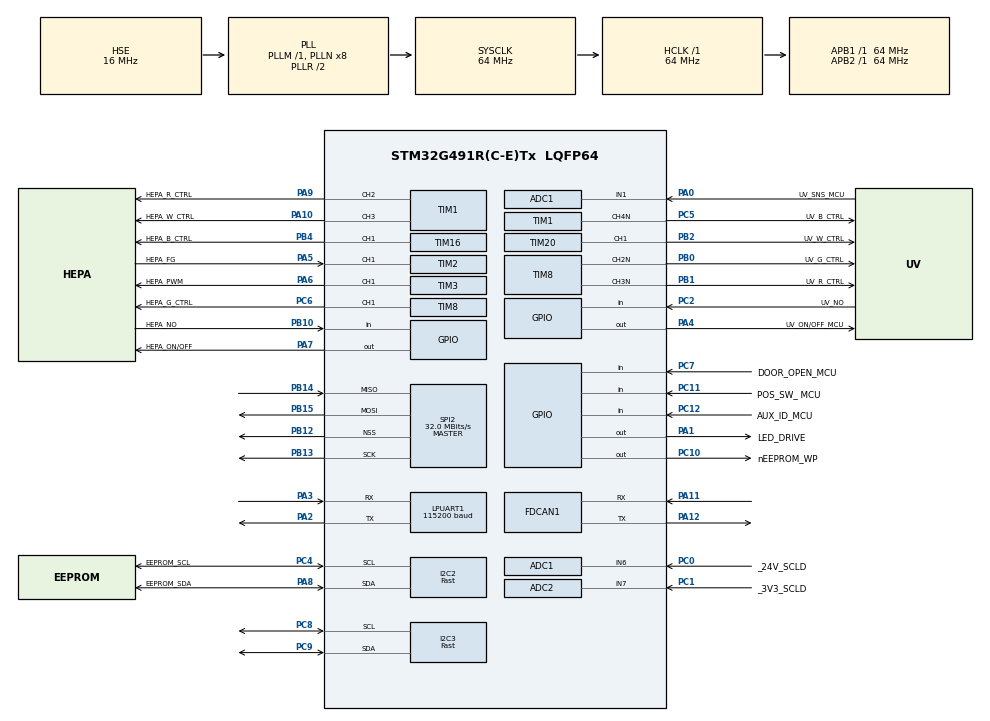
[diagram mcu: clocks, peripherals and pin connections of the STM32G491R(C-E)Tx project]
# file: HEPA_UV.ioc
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ADC1.Channel-1\#ChannelRegularConversion=ADC_CHANNEL_6
ADC1.NbrOfConversionFlag=1
ADC1.OffsetNumber-1\#ChannelRegularConversion=ADC_OFFSET_NONE
ADC1.Rank-1\#ChannelRegularConversion=1
ADC1.SamplingTime-1\#ChannelRegularConversion=ADC_SAMPLETIME_12CYCLES_5
ADC1.master=1
ADC2.Channel-0\#ChannelRegularConversion=ADC_CHANNEL_7
ADC2.NbrOfConversionFlag=1
ADC2.OffsetNumber-0\#ChannelRegularConversion=ADC_OFFSET_NONE
ADC2.Rank-0\#ChannelRegularConversion=1
ADC2.SamplingTime-0\#ChannelRegularConversion=ADC_SAMPLETIME_2CYCLES_5
FDCAN1.CalculateBaudRateNominal=500000
FDCAN1.CalculateTimeBitNominal=2000
FDCAN1.CalculateTimeQuantumNominal=15.625
FDCAN1.DataTimeSeg1=32
FDCAN1.NominalPrescaler=1
FDCAN1.NominalTimeSeg1=110
FDCAN1.NominalTimeSeg2=17
I2C2.I2C_Speed_Mode=I2C_Fast
I2C2.Timing=0x00602173
I2C3.I2C_Speed_Mode=I2C_Fast
I2C3.Timing=0x00602173
LPUART1.BaudRate=115200
Mcu.Family=STM32G4
Mcu.Name=STM32G491R(C-E)Tx
Mcu.Package=LQFP64
NVIC.PriorityGroup=NVIC_PRIORITYGROUP_4
NVIC.TIM2_IRQn=true\:0\:0\:false\:false\:true\:true\:true\:true
PA0.GPIO_Label=UV_SNS_MCU
PA0.Mode=IN1-Single-Ended
PA0.Signal=ADC1_IN1
PA1.GPIO_Label=LED_DRIVE
PA1.GPIO_ModeDefaultOutputPP=GPIO_MODE_OUTPUT_OD
PA1.GPIO_PuPd=GPIO_NOPULL
PA1.Signal=GPIO_Output
PA10.GPIO_Label=HEPA_W_CTRL
PA10.Signal=S_TIM1_CH3
PA11.Mode=FDCAN_Activate
PA11.Signal=FDCAN1_RX
PA12.Mode=FDCAN_Activate
PA12.Signal=FDCAN1_TX
PA13.Signal=SYS_JTMS-SWDIO
PA14.Signal=SYS_JTCK-SWCLK
PA15.Signal=SYS_JTDI
PA2.Mode=Asynchronous
PA2.Signal=LPUART1_TX
PA3.Mode=Asynchronous
PA3.Signal=LPUART1_RX
PA4.GPIO_Label=UV_ON/OFF_MCU
PA4.GPIO_Speed=GPIO_SPEED_FREQ_LOW
PA4.PinState=GPIO_PIN_RESET
PA4.Signal=GPIO_Output
PA5.GPIO_Label=HEPA_FG
PA5.Signal=S_TIM2_CH1
PA6.GPIO_Label=HEPA_PWM
PA6.Signal=S_TIM3_CH1
PA7.GPIO_Label=HEPA_ON/OFF
PA7.PinState=GPIO_PIN_RESET
PA7.Signal=GPIO_Output
PA8.GPIO_Label=EEPROM_SDA
PA8.Mode=I2C
PA8.Signal=I2C2_SDA
PA9.GPIO_Label=HEPA_R_CTRL
PA9.Signal=S_TIM1_CH2
PB0.GPIO_Label=UV_G_CTRL
PB0.Mode=PWM Generation2 CH2N
PB0.Signal=TIM8_CH2N
PB1.GPIO_Label=UV_R_CTRL
PB1.Mode=PWM Generation3 CH3N
PB1.Signal=TIM8_CH3N
PB10.GPIO_Label=HEPA_NO
PB10.Signal=GPIO_Input
PB12.Mode=NSS_Signal_Hard_Output
PB12.Signal=SPI2_NSS
PB13.Mode=Full_Duplex_Master
PB13.Signal=SPI2_SCK
PB14.Mode=Full_Duplex_Master
PB14.Signal=SPI2_MISO
PB15.Mode=Full_Duplex_Master
PB15.Signal=SPI2_MOSI
PB2.GPIO_Label=UV_W_CTRL
PB2.Mode=PWM Generation1 CH1
PB2.Signal=TIM20_CH1
PB3.Signal=SYS_JTDO-SWO
PB4.GPIO_Label=HEPA_B_CTRL
PB4.Signal=S_TIM16_CH1
PC0.GPIO_Label=_24V_SCLD
PC0.Mode=IN6-Single-Ended
PC0.Signal=ADC1_IN6
PC1.GPIO_Label=_3V3_SCLD
PC1.Signal=SharedAnalog_PC1
PC10.GPIO_Label=nEEPROM_WP
PC10.GPIO_ModeDefaultOutputPP=GPIO_MODE_OUTPUT_OD
PC10.GPIO_PuPd=GPIO_NOPULL
PC10.Signal=GPIO_Output
PC11.GPIO_Label=POS_SW_ MCU
PC11.Signal=GPIO_Input
PC12.GPIO_Label=AUX_ID_MCU
PC12.Signal=GPIO_Input
PC2.GPIO_Label=UV_NO
PC2.Signal=GPIO_Input
PC4.GPIO_Label=EEPROM_SCL
PC4.Mode=I2C
PC4.Signal=I2C2_SCL
PC5.GPIO_Label=UV_B_CTRL
PC5.Mode=PWM Generation4 CH4N
PC5.Signal=TIM1_CH4N
PC6.GPIO_Label=HEPA_G_CTRL
PC6.Signal=S_TIM8_CH1
PC7.GPIO_Label=DOOR_OPEN_MCU
PC7.Signal=GPIO_Input
PC8.Mode=I2C
PC8.Signal=I2C3_SCL
PC9.Mode=I2C
PC9.Signal=I2C3_SDA
PF0-OSC_IN.Mode=HSE-External-Oscillator
PF0-OSC_IN.Signal=RCC_OSC_IN
PF1-OSC_OUT.Mode=HSE-External-Oscillator
PF1-OSC_OUT.Signal=RCC_OSC_OUT
ProjectManager.HeapSize=0x200
ProjectManager.StackSize=0x400
ProjectManager.TargetToolchain=STM32CubeIDE
RCC.ADC12Freq_Value=64000000
RCC.ADC345Freq_Value=64000000
RCC.AHBFreq_Value=64000000
RCC.APB1Freq_Value=64000000
RCC.APB1TimFreq_Value=64000000
RCC.APB2Freq_Value=64000000
RCC.APB2TimFreq_Value=64000000
RCC.CortexFreq_Value=64000000
RCC.EXTERNAL_CLOCK_VALUE=12288000
RCC.HCLKFreq_Value=64000000
RCC.HSE_VALUE=16000000
RCC.HSI48_VALUE=48000000
RCC.HSI_VALUE=16000000
RCC.LSE_VALUE=32768
RCC.PLLSourceVirtual=RCC_PLLSOURCE_HSE
RCC.SYSCLKFreq_VALUE=64000000
RCC.SYSCLKSource=RCC_SYSCLKSOURCE_PLLCLK
RCC.USBFreq_Value=48000000
RCC.VCOOutputFreq_Value=128000000
SH.S_TIM16_CH1.0=TIM16_CH1,PWM Generation1 CH1
SH.S_TIM1_CH2.0=TIM1_CH2,PWM Generation2 CH2
SH.S_TIM1_CH3.0=TIM1_CH3,PWM Generation3 CH3
SH.S_TIM2_CH1.0=TIM2_CH1,Input_Capture1_from_TI1
SH.S_TIM3_CH1.0=TIM3_CH1,PWM Generation1 CH1
SH.S_TIM8_CH1.0=TIM8_CH1,PWM Generation1 CH1
SH.SharedAnalog_PC1.0=ADC2_IN7,IN7-Single-Ended
SH.SharedAnalog_PC1.1=ADC1_IN7,IN7-Single-Ended
SPI2.CalculateBaudRate=32.0 MBits/s
SPI2.Direction=SPI_DIRECTION_2LINES
SPI2.Mode=SPI_MODE_MASTER
SPI2.VirtualNSS=VM_NSSHARD
SPI2.VirtualType=VM_MASTER
TIM1.Channel-PWM\ Generation2\ CH2=TIM_CHANNEL_2
TIM1.Channel-PWM\ Generation3\ CH3=TIM_CHANNEL_3
TIM1.Channel-PWM\ Generation4\ CH4N=TIM_CHANNEL_4
TIM16.Channel=TIM_CHANNEL_1
TIM2.Channel-Input_Capture1_from_TI1=TIM_CHANNEL_1
TIM2.Prescaler=640-1
TIM20.Channel-PWM\ Generation1\ CH1=TIM_CHANNEL_1
TIM3.Channel-PWM\ Generation1\ CH1=TIM_CHANNEL_1
TIM8.Channel-PWM\ Generation1\ CH1=TIM_CHANNEL_1
TIM8.Channel-PWM\ Generation2\ CH2N=TIM_CHANNEL_2
TIM8.Channel-PWM\ Generation3\ CH3N=TIM_CHANNEL_3
VP_SYS_VS_DBSignals.Mode=DisableDeadBatterySignals
VP_TIM16_VS_ClockSourceINT.Mode=Enable_Timer
VP_TIM2_VS_ClockSourceINT.Mode=Internal
VP_TIM3_VS_ClockSourceINT.Mode=Internal
board=custom

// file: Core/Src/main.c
/* USER CODE BEGIN Header */
/**
  ******************************************************************************
  * @file           : main.c
  * @brief          : Main program body
  ******************************************************************************
  * @attention
  *
  * Copyright (c) 2023 STMicroelectronics.
  * All rights reserved.
  *
  * This software is licensed under terms that can be found in the LICENSE file
  * in the root directory of this software component.
  * If no LICENSE file comes with this software, it is provided AS-IS.
  *
  ******************************************************************************
  */
/* USER CODE END Header */
#include "main.h"
#include <stdlib.h>
#include "EEPROM.h"
#include "can.h"
#include "voltage_monitors.h"
#include <math.h>
#include <string.h>
#include <stdio.h>

ADC_HandleTypeDef hadc1;
ADC_HandleTypeDef hadc2;

FDCAN_HandleTypeDef hfdcan1;

I2C_HandleTypeDef hi2c2;
I2C_HandleTypeDef hi2c3;

UART_HandleTypeDef hlpuart1;

SPI_HandleTypeDef hspi2;

TIM_HandleTypeDef htim1;
TIM_HandleTypeDef htim2;
TIM_HandleTypeDef htim3;
TIM_HandleTypeDef htim8;
TIM_HandleTypeDef htim16;
TIM_HandleTypeDef htim20;

void SystemClock_Config(void);
static void MX_GPIO_Init(void);
static void MX_FDCAN1_Init(void);
static void MX_I2C2_Init(void);
static void MX_LPUART1_UART_Init(void);
static void MX_TIM2_Init(void);
static void MX_TIM3_Init(void);
static void MX_ADC1_Init(void);
static void MX_ADC2_Init(void);
static void MX_I2C3_Init(void);
static void MX_SPI2_Init(void);
static void MX_TIM1_Init(void);
static void MX_TIM8_Init(void);
static void MX_TIM16_Init(void);
static void MX_TIM20_Init(void);

/* USER CODE BEGIN 0 */

/* CAN Configuration */
uint8_t debug_str[32];
uint8_t RxData[8];
uint8_t TxData[8];
FDCAN_RxHeaderTypeDef RxHeader;
FDCAN_TxHeaderTypeDef TxHeader;
uint8_t EEPROM_CAN_Msg;

/* EEPROM */
uint8_t dataRead[50];
uint8_t dataWrite[8];
uint8_t dataw1[] = "HEPA/UV \r\n";
uint8_t dataw2[] = "PN: 913-00072 \r\n";
uint8_t dataw3[] = "SN: 0001 \r\n";
uint8_t datar1[100];
uint8_t datar2[100];
uint8_t datar3[100];
uint8_t line1[] = "\r\n";

int ready = 1;

/* USER CODE END 0 */

int main(void)
{

  /* MCU Configuration--------------------------------------------------------*/

  /* Reset of all peripherals, Initializes the Flash interface and the Systick. */
  HAL_Init();

  /* Configure the system clock */
  SystemClock_Config();

  /* Initialize all configured peripherals */
  MX_GPIO_Init();
  MX_FDCAN1_Init();
  MX_I2C2_Init();
  MX_LPUART1_UART_Init();
  MX_TIM2_Init();
  MX_TIM3_Init();
  MX_ADC1_Init();
  MX_ADC2_Init();
  MX_I2C3_Init();
  MX_SPI2_Init();
  MX_TIM1_Init();
  MX_TIM8_Init();
  MX_TIM16_Init();
  MX_TIM20_Init();
  /* USER CODE BEGIN 2 */
  EEPROM_CAN_Msg = 0;

  /* USER CODE END 2 */

  /* Infinite loop */
  /* USER CODE BEGIN WHILE */
  while (1)
  {
	  /* Run EEPROM Test if "00 00 00 00 00 00 00 00" is received via CAN bus*/
	  if (EEPROM_CAN_Msg == 1)
	 	  {
	 		  for (int i = 0; i < 8; i++)
	 		  {
	 			  dataWrite[i] = (uint8_t)(rand() % 20);
	 		  }
	 		  HAL_UART_Transmit(&hlpuart1, dataWrite, strlen((const char*)(dataWrite)), HAL_MAX_DELAY);
	 		  HAL_UART_Transmit(&hlpuart1, line1, sizeof(line1), HAL_MAX_DELAY);
	 		  /* Write EEPROM */
	 		  send_msg(dataWrite, 8);
	 		  EEPROM_Write(0, 0, dataWrite, sizeof(dataWrite));

	 		  /* Read EEPROM */
	 		  EEPROM_Read(0, 0, datar1, 8);
	 		  send_msg(datar1, 8);

	 		  EEPROM_CAN_Msg = 0;

	 		  /* Erase EEPROM */
	 		  for (uint8_t i=0; i<251; i++)
	 		  {
	 			  EEPROM_PageErase (i);
	 		  }
	 	  }
	 	  /* CAN FD Test */
	  test_can_bus();

	  /* Check Door sw status and reed sw status */
	  if (HAL_GPIO_ReadPin(DOOR_OPEN_MCU_GPIO_Port, DOOR_OPEN_MCU_Pin))
	 	  {
	 		  HAL_GPIO_WritePin(UV_ON_OFF_MCU_GPIO_Port, UV_ON_OFF_MCU_Pin, GPIO_PIN_SET);
	 		  HAL_GPIO_WritePin(UV_B_CTRL_GPIO_Port, UV_B_CTRL_Pin, GPIO_PIN_RESET);
	 		  ready = 1;
	 	  }
	  else if (HAL_GPIO_ReadPin(POS_SW_MCU_GPIO_Port, POS_SW_MCU_Pin))
		  {
			  HAL_GPIO_WritePin(UV_ON_OFF_MCU_GPIO_Port, UV_ON_OFF_MCU_Pin, GPIO_PIN_SET);
			  HAL_GPIO_WritePin(UV_B_CTRL_GPIO_Port, UV_B_CTRL_Pin, GPIO_PIN_RESET);
			  ready = 1;
		  }
	  else ready = 0;

	   /* Apply UV power if pushbutton is pressed */
	  if (ready == 0)
	  {
		  if (!HAL_GPIO_ReadPin(UV_NO_GPIO_Port, UV_NO_Pin))
		{
		  HAL_GPIO_TogglePin(UV_ON_OFF_MCU_GPIO_Port, UV_ON_OFF_MCU_Pin);
		  if(!HAL_GPIO_ReadPin(UV_ON_OFF_MCU_GPIO_Port, UV_ON_OFF_MCU_Pin))
		  {
			  HAL_GPIO_WritePin(UV_B_CTRL_GPIO_Port, UV_B_CTRL_Pin, GPIO_PIN_SET);
		  }
		  else HAL_GPIO_WritePin(UV_B_CTRL_GPIO_Port, UV_B_CTRL_Pin, GPIO_PIN_RESET);
		  HAL_Delay(500);
		}
	  }

	  /* HEPA Fan Test */
	 if (!HAL_GPIO_ReadPin(HEPA_NO_GPIO_Port, HEPA_NO_Pin))
			{
			  HAL_GPIO_TogglePin(HEPA_ON_OFF_GPIO_Port, HEPA_ON_OFF_Pin);
			  HAL_GPIO_TogglePin(HEPA_B_CTRL_GPIO_Port, HEPA_B_CTRL_Pin);
			  HAL_Delay(500);
			}
	 HAL_Delay(100);

	 /* Get 24V and 3V3 ADC readings */
	 //		get_vin();
	 //		get_3V3();

    /* USER CODE END WHILE */

  }
}

void SystemClock_Config(void)
{
  RCC_OscInitTypeDef RCC_OscInitStruct = {0};
  RCC_ClkInitTypeDef RCC_ClkInitStruct = {0};

  /** Configure the main internal regulator output voltage
  */
  HAL_PWREx_ControlVoltageScaling(PWR_REGULATOR_VOLTAGE_SCALE1);

  /** Initializes the RCC Oscillators according to the specified parameters
  * in the RCC_OscInitTypeDef structure.
  */
  RCC_OscInitStruct.OscillatorType = RCC_OSCILLATORTYPE_HSE;
  RCC_OscInitStruct.HSEState = RCC_HSE_ON;
  RCC_OscInitStruct.PLL.PLLState = RCC_PLL_ON;
  RCC_OscInitStruct.PLL.PLLSource = RCC_PLLSOURCE_HSE;
  RCC_OscInitStruct.PLL.PLLM = RCC_PLLM_DIV1;
  RCC_OscInitStruct.PLL.PLLN = 8;
  RCC_OscInitStruct.PLL.PLLP = RCC_PLLP_DIV2;
  RCC_OscInitStruct.PLL.PLLQ = RCC_PLLQ_DIV2;
  RCC_OscInitStruct.PLL.PLLR = RCC_PLLR_DIV2;
  if (HAL_RCC_OscConfig(&RCC_OscInitStruct) != HAL_OK)
  {
    Error_Handler();
  }

  /** Initializes the CPU, AHB and APB buses clocks
  */
  RCC_ClkInitStruct.ClockType = RCC_CLOCKTYPE_HCLK|RCC_CLOCKTYPE_SYSCLK
                              |RCC_CLOCKTYPE_PCLK1|RCC_CLOCKTYPE_PCLK2;
  RCC_ClkInitStruct.SYSCLKSource = RCC_SYSCLKSOURCE_PLLCLK;
  RCC_ClkInitStruct.AHBCLKDivider = RCC_SYSCLK_DIV1;
  RCC_ClkInitStruct.APB1CLKDivider = RCC_HCLK_DIV1;
  RCC_ClkInitStruct.APB2CLKDivider = RCC_HCLK_DIV1;

  if (HAL_RCC_ClockConfig(&RCC_ClkInitStruct, FLASH_LATENCY_2) != HAL_OK)
  {
    Error_Handler();
  }
}

static void MX_ADC1_Init(void)
{

  ADC_MultiModeTypeDef multimode = {0};
  ADC_ChannelConfTypeDef sConfig = {0};

  /** Common config
  */
  hadc1.Instance = ADC1;
  hadc1.Init.ClockPrescaler = ADC_CLOCK_SYNC_PCLK_DIV2;
  hadc1.Init.Resolution = ADC_RESOLUTION_12B;
  hadc1.Init.DataAlign = ADC_DATAALIGN_RIGHT;
  hadc1.Init.GainCompensation = 0;
  hadc1.Init.ScanConvMode = ADC_SCAN_DISABLE;
  hadc1.Init.EOCSelection = ADC_EOC_SINGLE_CONV;
  hadc1.Init.LowPowerAutoWait = DISABLE;
  hadc1.Init.ContinuousConvMode = DISABLE;
  hadc1.Init.NbrOfConversion = 1;
  hadc1.Init.DiscontinuousConvMode = DISABLE;
  hadc1.Init.ExternalTrigConv = ADC_SOFTWARE_START;
  hadc1.Init.ExternalTrigConvEdge = ADC_EXTERNALTRIGCONVEDGE_NONE;
  hadc1.Init.DMAContinuousRequests = DISABLE;
  hadc1.Init.Overrun = ADC_OVR_DATA_PRESERVED;
  hadc1.Init.OversamplingMode = DISABLE;
  if (HAL_ADC_Init(&hadc1) != HAL_OK)
  {
    Error_Handler();
  }

  /** Configure the ADC multi-mode
  */
  multimode.Mode = ADC_MODE_INDEPENDENT;
  if (HAL_ADCEx_MultiModeConfigChannel(&hadc1, &multimode) != HAL_OK)
  {
    Error_Handler();
  }

  /** Configure Regular Channel
  */
  sConfig.Channel = ADC_CHANNEL_6;
  sConfig.Rank = ADC_REGULAR_RANK_1;
  sConfig.SamplingTime = ADC_SAMPLETIME_12CYCLES_5;
  sConfig.SingleDiff = ADC_SINGLE_ENDED;
  sConfig.OffsetNumber = ADC_OFFSET_NONE;
  sConfig.Offset = 0;
  if (HAL_ADC_ConfigChannel(&hadc1, &sConfig) != HAL_OK)
  {
    Error_Handler();
  }

}

static void MX_ADC2_Init(void)
{

  ADC_ChannelConfTypeDef sConfig = {0};

  /** Common config
  */
  hadc2.Instance = ADC2;
  hadc2.Init.ClockPrescaler = ADC_CLOCK_SYNC_PCLK_DIV2;
  hadc2.Init.Resolution = ADC_RESOLUTION_12B;
  hadc2.Init.DataAlign = ADC_DATAALIGN_RIGHT;
  hadc2.Init.GainCompensation = 0;
  hadc2.Init.ScanConvMode = ADC_SCAN_DISABLE;
  hadc2.Init.EOCSelection = ADC_EOC_SINGLE_CONV;
  hadc2.Init.LowPowerAutoWait = DISABLE;
  hadc2.Init.ContinuousConvMode = DISABLE;
  hadc2.Init.NbrOfConversion = 1;
  hadc2.Init.DiscontinuousConvMode = DISABLE;
  hadc2.Init.ExternalTrigConv = ADC_SOFTWARE_START;
  hadc2.Init.ExternalTrigConvEdge = ADC_EXTERNALTRIGCONVEDGE_NONE;
  hadc2.Init.DMAContinuousRequests = DISABLE;
  hadc2.Init.Overrun = ADC_OVR_DATA_PRESERVED;
  hadc2.Init.OversamplingMode = DISABLE;
  if (HAL_ADC_Init(&hadc2) != HAL_OK)
  {
    Error_Handler();
  }

  /** Configure Regular Channel
  */
  sConfig.Channel = ADC_CHANNEL_7;
  sConfig.Rank = ADC_REGULAR_RANK_1;
  sConfig.SamplingTime = ADC_SAMPLETIME_2CYCLES_5;
  sConfig.SingleDiff = ADC_SINGLE_ENDED;
  sConfig.OffsetNumber = ADC_OFFSET_NONE;
  sConfig.Offset = 0;
  if (HAL_ADC_ConfigChannel(&hadc2, &sConfig) != HAL_OK)
  {
    Error_Handler();
  }
  /* USER CODE BEGIN ADC2_Init 2 */
  HAL_ADCEx_Calibration_Start(&hadc2, ADC_SINGLE_ENDED);
  HAL_Delay(10);

  /* USER CODE END ADC2_Init 2 */

}

static void MX_FDCAN1_Init(void)
{

  /* USER CODE BEGIN FDCAN1_Init 0 */
  /* CAN Tx */
  TxHeader.Identifier = 0x23;
  TxHeader.IdType = FDCAN_EXTENDED_ID;
  TxHeader.TxFrameType = FDCAN_DATA_FRAME;
  TxHeader.DataLength = FDCAN_DLC_BYTES_8;
  TxHeader.ErrorStateIndicator = FDCAN_ESI_ACTIVE;
  TxHeader.BitRateSwitch = FDCAN_BRS_OFF;
  TxHeader.FDFormat = FDCAN_FD_CAN; // FDCAN_CLASSIC_CAN;
  TxHeader.TxEventFifoControl = FDCAN_NO_TX_EVENTS;
  TxHeader.MessageMarker = 0;

  /* CAN Rx */
  RxHeader.Identifier = 0x23; //0x555;
  RxHeader.IdType = FDCAN_EXTENDED_ID;
  RxHeader.RxFrameType = FDCAN_DATA_FRAME;
  RxHeader.DataLength = FDCAN_DLC_BYTES_8;
  RxHeader.ErrorStateIndicator = FDCAN_ESI_ACTIVE;
  RxHeader.BitRateSwitch = FDCAN_BRS_OFF;
  RxHeader.FDFormat = FDCAN_FD_CAN; // FDCAN_CLASSIC_CAN;
  /* USER CODE END FDCAN1_Init 0 */

  hfdcan1.Instance = FDCAN1;
  hfdcan1.Init.ClockDivider = FDCAN_CLOCK_DIV1;
  hfdcan1.Init.FrameFormat = FDCAN_FRAME_CLASSIC;
  hfdcan1.Init.Mode = FDCAN_MODE_NORMAL;
  hfdcan1.Init.AutoRetransmission = DISABLE;
  hfdcan1.Init.TransmitPause = DISABLE;
  hfdcan1.Init.ProtocolException = DISABLE;
  hfdcan1.Init.NominalPrescaler = 1;
  hfdcan1.Init.NominalSyncJumpWidth = 1;
  hfdcan1.Init.NominalTimeSeg1 = 110;
  hfdcan1.Init.NominalTimeSeg2 = 17;
  hfdcan1.Init.DataPrescaler = 1;
  hfdcan1.Init.DataSyncJumpWidth = 1;
  hfdcan1.Init.DataTimeSeg1 = 32;
  hfdcan1.Init.DataTimeSeg2 = 1;
  hfdcan1.Init.StdFiltersNbr = 0;
  hfdcan1.Init.ExtFiltersNbr = 0;
  hfdcan1.Init.TxFifoQueueMode = FDCAN_TX_FIFO_OPERATION;
  if (HAL_FDCAN_Init(&hfdcan1) != HAL_OK)
  {
    Error_Handler();
  }
  /* USER CODE BEGIN FDCAN1_Init 2 */
  /* Start CAN */
  if (HAL_FDCAN_Start(&hfdcan1) != HAL_OK)
  {
	Error_Handler();
  }

  /* USER CODE END FDCAN1_Init 2 */

}

static void MX_I2C2_Init(void)
{

  hi2c2.Instance = I2C2;
  hi2c2.Init.Timing = 0x00602173;
  hi2c2.Init.OwnAddress1 = 0;
  hi2c2.Init.AddressingMode = I2C_ADDRESSINGMODE_7BIT;
  hi2c2.Init.DualAddressMode = I2C_DUALADDRESS_DISABLE;
  hi2c2.Init.OwnAddress2 = 0;
  hi2c2.Init.OwnAddress2Masks = I2C_OA2_NOMASK;
  hi2c2.Init.GeneralCallMode = I2C_GENERALCALL_DISABLE;
  hi2c2.Init.NoStretchMode = I2C_NOSTRETCH_DISABLE;
  if (HAL_I2C_Init(&hi2c2) != HAL_OK)
  {
    Error_Handler();
  }

  /** Configure Analogue filter
  */
  if (HAL_I2CEx_ConfigAnalogFilter(&hi2c2, I2C_ANALOGFILTER_ENABLE) != HAL_OK)
  {
    Error_Handler();
  }

  /** Configure Digital filter
  */
  if (HAL_I2CEx_ConfigDigitalFilter(&hi2c2, 0) != HAL_OK)
  {
    Error_Handler();
  }

}

static void MX_I2C3_Init(void)
{

  hi2c3.Instance = I2C3;
  hi2c3.Init.Timing = 0x00602173;
  hi2c3.Init.OwnAddress1 = 0;
  hi2c3.Init.AddressingMode = I2C_ADDRESSINGMODE_7BIT;
  hi2c3.Init.DualAddressMode = I2C_DUALADDRESS_DISABLE;
  hi2c3.Init.OwnAddress2 = 0;
  hi2c3.Init.OwnAddress2Masks = I2C_OA2_NOMASK;
  hi2c3.Init.GeneralCallMode = I2C_GENERALCALL_DISABLE;
  hi2c3.Init.NoStretchMode = I2C_NOSTRETCH_DISABLE;
  if (HAL_I2C_Init(&hi2c3) != HAL_OK)
  {
    Error_Handler();
  }

  /** Configure Analogue filter
  */
  if (HAL_I2CEx_ConfigAnalogFilter(&hi2c3, I2C_ANALOGFILTER_ENABLE) != HAL_OK)
  {
    Error_Handler();
  }

  /** Configure Digital filter
  */
  if (HAL_I2CEx_ConfigDigitalFilter(&hi2c3, 0) != HAL_OK)
  {
    Error_Handler();
  }

}

static void MX_LPUART1_UART_Init(void)
{

  hlpuart1.Instance = LPUART1;
  hlpuart1.Init.BaudRate = 115200;
  hlpuart1.Init.WordLength = UART_WORDLENGTH_8B;
  hlpuart1.Init.StopBits = UART_STOPBITS_1;
  hlpuart1.Init.Parity = UART_PARITY_NONE;
  hlpuart1.Init.Mode = UART_MODE_TX_RX;
  hlpuart1.Init.HwFlowCtl = UART_HWCONTROL_NONE;
  hlpuart1.Init.OneBitSampling = UART_ONE_BIT_SAMPLE_DISABLE;
  hlpuart1.Init.ClockPrescaler = UART_PRESCALER_DIV1;
  hlpuart1.AdvancedInit.AdvFeatureInit = UART_ADVFEATURE_NO_INIT;
  if (HAL_UART_Init(&hlpuart1) != HAL_OK)
  {
    Error_Handler();
  }
  if (HAL_UARTEx_SetTxFifoThreshold(&hlpuart1, UART_TXFIFO_THRESHOLD_1_8) != HAL_OK)
  {
    Error_Handler();
  }
  if (HAL_UARTEx_SetRxFifoThreshold(&hlpuart1, UART_RXFIFO_THRESHOLD_1_8) != HAL_OK)
  {
    Error_Handler();
  }
  if (HAL_UARTEx_DisableFifoMode(&hlpuart1) != HAL_OK)
  {
    Error_Handler();
  }

}

static void MX_SPI2_Init(void)
{

  /* SPI2 parameter configuration*/
  hspi2.Instance = SPI2;
  hspi2.Init.Mode = SPI_MODE_MASTER;
  hspi2.Init.Direction = SPI_DIRECTION_2LINES;
  hspi2.Init.DataSize = SPI_DATASIZE_8BIT;
  hspi2.Init.CLKPolarity = SPI_POLARITY_LOW;
  hspi2.Init.CLKPhase = SPI_PHASE_1EDGE;
  hspi2.Init.NSS = SPI_NSS_HARD_OUTPUT;
  hspi2.Init.BaudRatePrescaler = SPI_BAUDRATEPRESCALER_2;
  hspi2.Init.FirstBit = SPI_FIRSTBIT_MSB;
  hspi2.Init.TIMode = SPI_TIMODE_DISABLE;
  hspi2.Init.CRCCalculation = SPI_CRCCALCULATION_DISABLE;
  hspi2.Init.CRCPolynomial = 7;
  hspi2.Init.CRCLength = SPI_CRC_LENGTH_DATASIZE;
  hspi2.Init.NSSPMode = SPI_NSS_PULSE_ENABLE;
  if (HAL_SPI_Init(&hspi2) != HAL_OK)
  {
    Error_Handler();
  }

}

static void MX_TIM1_Init(void)
{

  TIM_MasterConfigTypeDef sMasterConfig = {0};
  TIM_OC_InitTypeDef sConfigOC = {0};
  TIM_BreakDeadTimeConfigTypeDef sBreakDeadTimeConfig = {0};

  htim1.Instance = TIM1;
  htim1.Init.Prescaler = 0;
  htim1.Init.CounterMode = TIM_COUNTERMODE_UP;
  htim1.Init.Period = 65535;
  htim1.Init.ClockDivision = TIM_CLOCKDIVISION_DIV1;
  htim1.Init.RepetitionCounter = 0;
  htim1.Init.AutoReloadPreload = TIM_AUTORELOAD_PRELOAD_DISABLE;
  if (HAL_TIM_PWM_Init(&htim1) != HAL_OK)
  {
    Error_Handler();
  }
  sMasterConfig.MasterOutputTrigger = TIM_TRGO_RESET;
  sMasterConfig.MasterOutputTrigger2 = TIM_TRGO2_RESET;
  sMasterConfig.MasterSlaveMode = TIM_MASTERSLAVEMODE_DISABLE;
  if (HAL_TIMEx_MasterConfigSynchronization(&htim1, &sMasterConfig) != HAL_OK)
  {
    Error_Handler();
  }
  sConfigOC.OCMode = TIM_OCMODE_PWM1;
  sConfigOC.Pulse = 0;
  sConfigOC.OCPolarity = TIM_OCPOLARITY_HIGH;
  sConfigOC.OCNPolarity = TIM_OCNPOLARITY_HIGH;
  sConfigOC.OCFastMode = TIM_OCFAST_DISABLE;
  sConfigOC.OCIdleState = TIM_OCIDLESTATE_RESET;
  sConfigOC.OCNIdleState = TIM_OCNIDLESTATE_RESET;
  if (HAL_TIM_PWM_ConfigChannel(&htim1, &sConfigOC, TIM_CHANNEL_2) != HAL_OK)
  {
    Error_Handler();
  }
  if (HAL_TIM_PWM_ConfigChannel(&htim1, &sConfigOC, TIM_CHANNEL_3) != HAL_OK)
  {
    Error_Handler();
  }
  if (HAL_TIM_PWM_ConfigChannel(&htim1, &sConfigOC, TIM_CHANNEL_4) != HAL_OK)
  {
    Error_Handler();
  }
  sBreakDeadTimeConfig.OffStateRunMode = TIM_OSSR_DISABLE;
  sBreakDeadTimeConfig.OffStateIDLEMode = TIM_OSSI_DISABLE;
  sBreakDeadTimeConfig.LockLevel = TIM_LOCKLEVEL_OFF;
  sBreakDeadTimeConfig.DeadTime = 0;
  sBreakDeadTimeConfig.BreakState = TIM_BREAK_DISABLE;
  sBreakDeadTimeConfig.BreakPolarity = TIM_BREAKPOLARITY_HIGH;
  sBreakDeadTimeConfig.BreakFilter = 0;
  sBreakDeadTimeConfig.BreakAFMode = TIM_BREAK_AFMODE_INPUT;
  sBreakDeadTimeConfig.Break2State = TIM_BREAK2_DISABLE;
  sBreakDeadTimeConfig.Break2Polarity = TIM_BREAK2POLARITY_HIGH;
  sBreakDeadTimeConfig.Break2Filter = 0;
  sBreakDeadTimeConfig.Break2AFMode = TIM_BREAK_AFMODE_INPUT;
  sBreakDeadTimeConfig.AutomaticOutput = TIM_AUTOMATICOUTPUT_DISABLE;
  if (HAL_TIMEx_ConfigBreakDeadTime(&htim1, &sBreakDeadTimeConfig) != HAL_OK)
  {
    Error_Handler();
  }
  HAL_TIM_MspPostInit(&htim1);

}

static void MX_TIM2_Init(void)
{

  TIM_ClockConfigTypeDef sClockSourceConfig = {0};
  TIM_MasterConfigTypeDef sMasterConfig = {0};
  TIM_IC_InitTypeDef sConfigIC = {0};

  htim2.Instance = TIM2;
  htim2.Init.Prescaler = 64-1;
  htim2.Init.CounterMode = TIM_COUNTERMODE_UP;
  htim2.Init.Period = 4.294967295E9;
  htim2.Init.ClockDivision = TIM_CLOCKDIVISION_DIV1;
  htim2.Init.AutoReloadPreload = TIM_AUTORELOAD_PRELOAD_DISABLE;
  if (HAL_TIM_Base_Init(&htim2) != HAL_OK)
  {
    Error_Handler();
  }
  sClockSourceConfig.ClockSource = TIM_CLOCKSOURCE_INTERNAL;
  if (HAL_TIM_ConfigClockSource(&htim2, &sClockSourceConfig) != HAL_OK)
  {
    Error_Handler();
  }
  if (HAL_TIM_IC_Init(&htim2) != HAL_OK)
  {
    Error_Handler();
  }
  sMasterConfig.MasterOutputTrigger = TIM_TRGO_RESET;
  sMasterConfig.MasterSlaveMode = TIM_MASTERSLAVEMODE_DISABLE;
  if (HAL_TIMEx_MasterConfigSynchronization(&htim2, &sMasterConfig) != HAL_OK)
  {
    Error_Handler();
  }
  sConfigIC.ICPolarity = TIM_INPUTCHANNELPOLARITY_RISING;
  sConfigIC.ICSelection = TIM_ICSELECTION_DIRECTTI;
  sConfigIC.ICPrescaler = TIM_ICPSC_DIV1;
  sConfigIC.ICFilter = 0;
  if (HAL_TIM_IC_ConfigChannel(&htim2, &sConfigIC, TIM_CHANNEL_1) != HAL_OK)
  {
    Error_Handler();
  }

}

static void MX_TIM3_Init(void)
{

  TIM_ClockConfigTypeDef sClockSourceConfig = {0};
  TIM_MasterConfigTypeDef sMasterConfig = {0};
  TIM_OC_InitTypeDef sConfigOC = {0};

  htim3.Instance = TIM3;
  htim3.Init.Prescaler = 64-1;
  htim3.Init.CounterMode = TIM_COUNTERMODE_UP;
  htim3.Init.Period = 40-1;
  htim3.Init.ClockDivision = TIM_CLOCKDIVISION_DIV1;
  htim3.Init.AutoReloadPreload = TIM_AUTORELOAD_PRELOAD_DISABLE;
  if (HAL_TIM_Base_Init(&htim3) != HAL_OK)
  {
    Error_Handler();
  }
  sClockSourceConfig.ClockSource = TIM_CLOCKSOURCE_INTERNAL;
  if (HAL_TIM_ConfigClockSource(&htim3, &sClockSourceConfig) != HAL_OK)
  {
    Error_Handler();
  }
  if (HAL_TIM_PWM_Init(&htim3) != HAL_OK)
  {
    Error_Handler();
  }
  sMasterConfig.MasterOutputTrigger = TIM_TRGO_RESET;
  sMasterConfig.MasterSlaveMode = TIM_MASTERSLAVEMODE_DISABLE;
  if (HAL_TIMEx_MasterConfigSynchronization(&htim3, &sMasterConfig) != HAL_OK)
  {
    Error_Handler();
  }
  sConfigOC.OCMode = TIM_OCMODE_PWM1;
  sConfigOC.Pulse = 30;
  sConfigOC.OCPolarity = TIM_OCPOLARITY_HIGH;
  sConfigOC.OCFastMode = TIM_OCFAST_DISABLE;
  if (HAL_TIM_PWM_ConfigChannel(&htim3, &sConfigOC, TIM_CHANNEL_1) != HAL_OK)
  {
    Error_Handler();
  }
  /* USER CODE BEGIN TIM3_Init 2 */
  /* Start PWM: DC% = Pulse/(Period+1) */
  HAL_TIM_PWM_Start(&htim3, TIM_CHANNEL_1);

  /* USER CODE END TIM3_Init 2 */
  HAL_TIM_MspPostInit(&htim3);

}

static void MX_TIM8_Init(void)
{

  TIM_MasterConfigTypeDef sMasterConfig = {0};
  TIM_OC_InitTypeDef sConfigOC = {0};
  TIM_BreakDeadTimeConfigTypeDef sBreakDeadTimeConfig = {0};

  htim8.Instance = TIM8;
  htim8.Init.Prescaler = 0;
  htim8.Init.CounterMode = TIM_COUNTERMODE_UP;
  htim8.Init.Period = 65535;
  htim8.Init.ClockDivision = TIM_CLOCKDIVISION_DIV1;
  htim8.Init.RepetitionCounter = 0;
  htim8.Init.AutoReloadPreload = TIM_AUTORELOAD_PRELOAD_DISABLE;
  if (HAL_TIM_PWM_Init(&htim8) != HAL_OK)
  {
    Error_Handler();
  }
  sMasterConfig.MasterOutputTrigger = TIM_TRGO_RESET;
  sMasterConfig.MasterOutputTrigger2 = TIM_TRGO2_RESET;
  sMasterConfig.MasterSlaveMode = TIM_MASTERSLAVEMODE_DISABLE;
  if (HAL_TIMEx_MasterConfigSynchronization(&htim8, &sMasterConfig) != HAL_OK)
  {
    Error_Handler();
  }
  sConfigOC.OCMode = TIM_OCMODE_PWM1;
  sConfigOC.Pulse = 0;
  sConfigOC.OCPolarity = TIM_OCPOLARITY_HIGH;
  sConfigOC.OCNPolarity = TIM_OCNPOLARITY_HIGH;
  sConfigOC.OCFastMode = TIM_OCFAST_DISABLE;
  sConfigOC.OCIdleState = TIM_OCIDLESTATE_RESET;
  sConfigOC.OCNIdleState = TIM_OCNIDLESTATE_RESET;
  if (HAL_TIM_PWM_ConfigChannel(&htim8, &sConfigOC, TIM_CHANNEL_1) != HAL_OK)
  {
    Error_Handler();
  }
  if (HAL_TIM_PWM_ConfigChannel(&htim8, &sConfigOC, TIM_CHANNEL_2) != HAL_OK)
  {
    Error_Handler();
  }
  if (HAL_TIM_PWM_ConfigChannel(&htim8, &sConfigOC, TIM_CHANNEL_3) != HAL_OK)
  {
    Error_Handler();
  }
  sBreakDeadTimeConfig.OffStateRunMode = TIM_OSSR_DISABLE;
  sBreakDeadTimeConfig.OffStateIDLEMode = TIM_OSSI_DISABLE;
  sBreakDeadTimeConfig.LockLevel = TIM_LOCKLEVEL_OFF;
  sBreakDeadTimeConfig.DeadTime = 0;
  sBreakDeadTimeConfig.BreakState = TIM_BREAK_DISABLE;
  sBreakDeadTimeConfig.BreakPolarity = TIM_BREAKPOLARITY_HIGH;
  sBreakDeadTimeConfig.BreakFilter = 0;
  sBreakDeadTimeConfig.BreakAFMode = TIM_BREAK_AFMODE_INPUT;
  sBreakDeadTimeConfig.Break2State = TIM_BREAK2_DISABLE;
  sBreakDeadTimeConfig.Break2Polarity = TIM_BREAK2POLARITY_HIGH;
  sBreakDeadTimeConfig.Break2Filter = 0;
  sBreakDeadTimeConfig.Break2AFMode = TIM_BREAK_AFMODE_INPUT;
  sBreakDeadTimeConfig.AutomaticOutput = TIM_AUTOMATICOUTPUT_DISABLE;
  if (HAL_TIMEx_ConfigBreakDeadTime(&htim8, &sBreakDeadTimeConfig) != HAL_OK)
  {
    Error_Handler();
  }
  HAL_TIM_MspPostInit(&htim8);

}

static void MX_TIM16_Init(void)
{

  TIM_OC_InitTypeDef sConfigOC = {0};
  TIM_BreakDeadTimeConfigTypeDef sBreakDeadTimeConfig = {0};

  htim16.Instance = TIM16;
  htim16.Init.Prescaler = 0;
  htim16.Init.CounterMode = TIM_COUNTERMODE_UP;
  htim16.Init.Period = 65535;
  htim16.Init.ClockDivision = TIM_CLOCKDIVISION_DIV1;
  htim16.Init.RepetitionCounter = 0;
  htim16.Init.AutoReloadPreload = TIM_AUTORELOAD_PRELOAD_DISABLE;
  if (HAL_TIM_Base_Init(&htim16) != HAL_OK)
  {
    Error_Handler();
  }
  if (HAL_TIM_PWM_Init(&htim16) != HAL_OK)
  {
    Error_Handler();
  }
  sConfigOC.OCMode = TIM_OCMODE_PWM1;
  sConfigOC.Pulse = 0;
  sConfigOC.OCPolarity = TIM_OCPOLARITY_HIGH;
  sConfigOC.OCNPolarity = TIM_OCNPOLARITY_HIGH;
  sConfigOC.OCFastMode = TIM_OCFAST_DISABLE;
  sConfigOC.OCIdleState = TIM_OCIDLESTATE_RESET;
  sConfigOC.OCNIdleState = TIM_OCNIDLESTATE_RESET;
  if (HAL_TIM_PWM_ConfigChannel(&htim16, &sConfigOC, TIM_CHANNEL_1) != HAL_OK)
  {
    Error_Handler();
  }
  sBreakDeadTimeConfig.OffStateRunMode = TIM_OSSR_DISABLE;
  sBreakDeadTimeConfig.OffStateIDLEMode = TIM_OSSI_DISABLE;
  sBreakDeadTimeConfig.LockLevel = TIM_LOCKLEVEL_OFF;
  sBreakDeadTimeConfig.DeadTime = 0;
  sBreakDeadTimeConfig.BreakState = TIM_BREAK_DISABLE;
  sBreakDeadTimeConfig.BreakPolarity = TIM_BREAKPOLARITY_HIGH;
  sBreakDeadTimeConfig.BreakFilter = 0;
  sBreakDeadTimeConfig.AutomaticOutput = TIM_AUTOMATICOUTPUT_DISABLE;
  if (HAL_TIMEx_ConfigBreakDeadTime(&htim16, &sBreakDeadTimeConfig) != HAL_OK)
  {
    Error_Handler();
  }
  HAL_TIM_MspPostInit(&htim16);

}

static void MX_TIM20_Init(void)
{

  TIM_MasterConfigTypeDef sMasterConfig = {0};
  TIM_OC_InitTypeDef sConfigOC = {0};
  TIM_BreakDeadTimeConfigTypeDef sBreakDeadTimeConfig = {0};

  htim20.Instance = TIM20;
  htim20.Init.Prescaler = 0;
  htim20.Init.CounterMode = TIM_COUNTERMODE_UP;
  htim20.Init.Period = 65535;
  htim20.Init.ClockDivision = TIM_CLOCKDIVISION_DIV1;
  htim20.Init.RepetitionCounter = 0;
  htim20.Init.AutoReloadPreload = TIM_AUTORELOAD_PRELOAD_DISABLE;
  if (HAL_TIM_PWM_Init(&htim20) != HAL_OK)
  {
    Error_Handler();
  }
  sMasterConfig.MasterOutputTrigger = TIM_TRGO_RESET;
  sMasterConfig.MasterOutputTrigger2 = TIM_TRGO2_RESET;
  sMasterConfig.MasterSlaveMode = TIM_MASTERSLAVEMODE_DISABLE;
  if (HAL_TIMEx_MasterConfigSynchronization(&htim20, &sMasterConfig) != HAL_OK)
  {
    Error_Handler();
  }
  sConfigOC.OCMode = TIM_OCMODE_PWM1;
  sConfigOC.Pulse = 0;
  sConfigOC.OCPolarity = TIM_OCPOLARITY_HIGH;
  sConfigOC.OCNPolarity = TIM_OCNPOLARITY_HIGH;
  sConfigOC.OCFastMode = TIM_OCFAST_DISABLE;
  sConfigOC.OCIdleState = TIM_OCIDLESTATE_RESET;
  sConfigOC.OCNIdleState = TIM_OCNIDLESTATE_RESET;
  if (HAL_TIM_PWM_ConfigChannel(&htim20, &sConfigOC, TIM_CHANNEL_1) != HAL_OK)
  {
    Error_Handler();
  }
  sBreakDeadTimeConfig.OffStateRunMode = TIM_OSSR_DISABLE;
  sBreakDeadTimeConfig.OffStateIDLEMode = TIM_OSSI_DISABLE;
  sBreakDeadTimeConfig.LockLevel = TIM_LOCKLEVEL_OFF;
  sBreakDeadTimeConfig.DeadTime = 0;
  sBreakDeadTimeConfig.BreakState = TIM_BREAK_DISABLE;
  sBreakDeadTimeConfig.BreakPolarity = TIM_BREAKPOLARITY_HIGH;
  sBreakDeadTimeConfig.BreakFilter = 0;
  sBreakDeadTimeConfig.BreakAFMode = TIM_BREAK_AFMODE_INPUT;
  sBreakDeadTimeConfig.Break2State = TIM_BREAK2_DISABLE;
  sBreakDeadTimeConfig.Break2Polarity = TIM_BREAK2POLARITY_HIGH;
  sBreakDeadTimeConfig.Break2Filter = 0;
  sBreakDeadTimeConfig.Break2AFMode = TIM_BREAK_AFMODE_INPUT;
  sBreakDeadTimeConfig.AutomaticOutput = TIM_AUTOMATICOUTPUT_DISABLE;
  if (HAL_TIMEx_ConfigBreakDeadTime(&htim20, &sBreakDeadTimeConfig) != HAL_OK)
  {
    Error_Handler();
  }
  HAL_TIM_MspPostInit(&htim20);

}

static void MX_GPIO_Init(void)
{
  GPIO_InitTypeDef GPIO_InitStruct = {0};

  /* GPIO Ports Clock Enable */
  __HAL_RCC_GPIOF_CLK_ENABLE();
  __HAL_RCC_GPIOC_CLK_ENABLE();
  __HAL_RCC_GPIOA_CLK_ENABLE();
  __HAL_RCC_GPIOB_CLK_ENABLE();

  /*Configure GPIO pin Output Level */
  HAL_GPIO_WritePin(GPIOA, LED_DRIVE_Pin|UV_ON_OFF_MCU_Pin|HEPA_ON_OFF_Pin, GPIO_PIN_RESET);

  /*Configure GPIO pin Output Level */
  HAL_GPIO_WritePin(nEEPROM_WP_GPIO_Port, nEEPROM_WP_Pin, GPIO_PIN_RESET);

  /*Configure GPIO pins : UV_NO_Pin DOOR_OPEN_MCU_Pin POS_SW_MCU_Pin AUX_ID_MCU_Pin */
  GPIO_InitStruct.Pin = UV_NO_Pin|DOOR_OPEN_MCU_Pin|POS_SW_MCU_Pin|AUX_ID_MCU_Pin;
  GPIO_InitStruct.Mode = GPIO_MODE_INPUT;
  GPIO_InitStruct.Pull = GPIO_NOPULL;
  HAL_GPIO_Init(GPIOC, &GPIO_InitStruct);

  /*Configure GPIO pin : LED_DRIVE_Pin */
  GPIO_InitStruct.Pin = LED_DRIVE_Pin;
  GPIO_InitStruct.Mode = GPIO_MODE_OUTPUT_OD;
  GPIO_InitStruct.Pull = GPIO_NOPULL;
  GPIO_InitStruct.Speed = GPIO_SPEED_FREQ_LOW;
  HAL_GPIO_Init(LED_DRIVE_GPIO_Port, &GPIO_InitStruct);

  /*Configure GPIO pins : UV_ON_OFF_MCU_Pin HEPA_ON_OFF_Pin */
  GPIO_InitStruct.Pin = UV_ON_OFF_MCU_Pin|HEPA_ON_OFF_Pin;
  GPIO_InitStruct.Mode = GPIO_MODE_OUTPUT_PP;
  GPIO_InitStruct.Pull = GPIO_NOPULL;
  GPIO_InitStruct.Speed = GPIO_SPEED_FREQ_LOW;
  HAL_GPIO_Init(GPIOA, &GPIO_InitStruct);

  /*Configure GPIO pin : HEPA_NO_Pin */
  GPIO_InitStruct.Pin = HEPA_NO_Pin;
  GPIO_InitStruct.Mode = GPIO_MODE_INPUT;
  GPIO_InitStruct.Pull = GPIO_NOPULL;
  HAL_GPIO_Init(HEPA_NO_GPIO_Port, &GPIO_InitStruct);

  /*Configure GPIO pin : nEEPROM_WP_Pin */
  GPIO_InitStruct.Pin = nEEPROM_WP_Pin;
  GPIO_InitStruct.Mode = GPIO_MODE_OUTPUT_OD;
  GPIO_InitStruct.Pull = GPIO_NOPULL;
  GPIO_InitStruct.Speed = GPIO_SPEED_FREQ_LOW;
  HAL_GPIO_Init(nEEPROM_WP_GPIO_Port, &GPIO_InitStruct);

}

void Error_Handler(void)
{
  __disable_irq();
  while (1)
  {
  }
}
